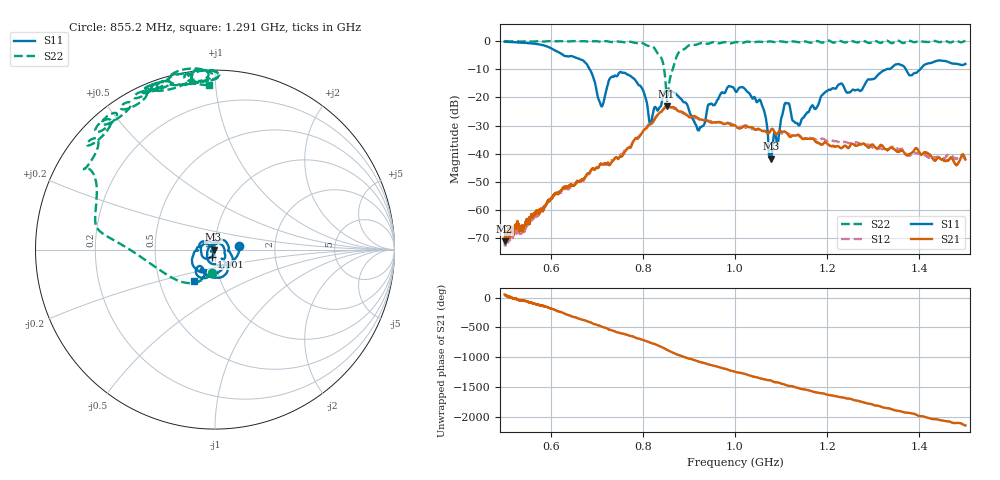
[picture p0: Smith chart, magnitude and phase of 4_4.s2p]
!Agilent Technologies,E8364B,US42250235,A.06.04.32
!Agilent E8364B: A.06.04.32
!Date: Thursday, October 01, 2020 16:03:48
!Correction: S11(Full 2 Port(1,2)) S21(Full 2 Port(1,2)) S12(Full 2 Port(1,2)) S22(Full 2 Port(1,2))
!S2P File: Measurements: S11, S21, S12, S22:
# Hz S  dB  R 50
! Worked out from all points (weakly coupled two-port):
!   2650 points, 500 MHz to 1.5 GHz, reference 50 ohm
!   highest |S21| = -23.17 dB at 851.5 MHz (marker M1); lowest = -71.1 dB at 500 MHz (marker M2)
!   lowest |S11| = -41.7 dB at 1.078 GHz (marker M3), VSWR 1.02, Z = 49.2 - j0.0337 ohm
!   |S11| at or under -10 dB: 684.4 MHz to 1.329 GHz (644.6 MHz wide, 64 % of centre); 1.371 GHz to 1.402 GHz (31.49 MHz wide, 2.27 % of centre)
!   |S22| runs from -21.3 to 0.2 dB; largest |S21 - S12| = 0.0098
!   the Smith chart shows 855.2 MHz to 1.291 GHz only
!   S11 on the Smith chart (normalised r, x): 855.2 MHz: 1.30, +0.05; 1.101 GHz: 0.96, -0.08; 1.291 GHz: 0.75, -0.27
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5e8  -0.26 -175.3  -71.06 51.6  -72.72 53.3  -0.02 143.3
5.894677e8  -1.78 125.8  -58.09 -153.5  -57.93 -156.3  -0.16 127.6
6.668554e8  -6.67 70.8  -49.30 -7.7  -49.68 -16.5  -0.08 124.6
7.09513e8  -23.03 70.3  -43.50 -124.7  -43.66 -130.2  -0.32 116.2
7.548131e8  -11.24 67.6  -40.88 117.5  -40.13 125.5  -0.41 110.9
7.974707e8  -16.61 2.5  -32.74 17.6  -32.77 23.8  -0.68 98.6
8.163458e8  -29.38 15.9  -29.51 -37.4  -29.05 -31.6  -1.78 77.3
8.337108e8  -24.24 41.6  -25.90 -85.9  -25.88 -82.8  -4.81 53.7
8.514534e8  -17.56 19.1  -23.17 -152.7  -23.16 -149.6  -19.75 -10.9
8.552284e8  -17.55 8.5  -23.27 -168.3  -23.37 -165.7  -17.64 -96.7
8.801435e8  -20.18 -62.6  -25.04 109.4  -25.23 111.4  -3.67 170.6
9.220461e8  -31.70 115.5  -27.58 3.7  -27.87 4.1  -0.93 136.9
1.000189e9  -17.60 -114.9  -29.93 -165.2  -30.04 -175.3  -0.43 120.3
1.056436e9  -21.63 147.0  -31.69 81.1  -31.90 71.1  -0.30 114.8
1.078331e9  -41.70 -177.6  -31.40 45.9  -32.34 26.9  -0.17 112.5
1.100604e9  -27.20 -115.6  -32.07 -4.4  -32.77 -14.3  -0.16 113.3
1.111929e9  -22.12 -166.5  -32.55 -32.4  -32.78 -36.9  -0.43 111.3
1.136844e9  -29.65 118.3  -33.26 -75.7  -33.55 -85.5  -0.44 110.0
1.166667e9  -22.94 -38.9  -34.57 -131.0  -34.49 -135.1  -0.56 100.4
1.291242e9  -13.60 -123.3  -37.74 19.6  -36.83 8.6  -0.74 92.0
1.333522e9  -9.91 -147.2  -38.33 -58.9  -38.41 -53.8  -0.15 96.9
1.5e9  -8.14 142.9  -41.96 13.4  -42.10 5.2  0.10 71.5
